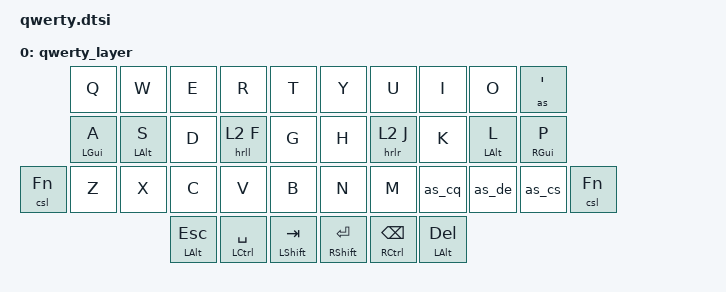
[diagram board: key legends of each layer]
/**
 * Alpha Layer - QWERTY
 */

/ {
  keymap {
    compatible = "zmk,keymap";

    qwerty_layer {
      display-name = DISPLAY_NAME;
      bindings = <
//                 ╭───────────────┬───────────────┬───────────────┬───────────────┬───────────────╮   ╭───────────────┬───────────────┬───────────────┬───────────────┬───────────────╮
//                 │0              │1              │2              │3              │4              │   │5              │6              │7              │8              │9              │
                    &kp Q           &kp W           &kp E           &kp R           &kp T               &kp Y           &kp U           &kp I           &kp O           &as SQT
//                 ├───────────────┼───────────────┼───────────────┼───────────────┼───────────────┤   ├───────────────├───────────────┼───────────────┼───────────────┼───────────────┤
//                 │10             │11             │12             │13             │14             │   │15             │16             │17             │18             │19             │
                    &hrml LGUI A    &hrml LALT S    &kp D           &hrll L2 F      &kp G               &kp H           &hrlr L2 J      &kp K           &hrmr LALT L    &hrmr RGUI P
// ╭───────────────┬───────────────┼───────────────┼───────────────┼───────────────┼───────────────┤   ├───────────────├───────────────┼───────────────┼───────────────┼───────────────┬───────────────╮
//  20             │21             │22             │23             │24             │25             │   │26             │27             │28             │29             │30             │31             │
    &csl Fn         &kp Z           &kp X           &kp C           &kp V           &kp B               &kp N           &kp M           &as_cq          &as_de          &as_cs          &csl Fn
// ╰───────────────┴───────────────┴───────────────┼───────────────┼───────────────┼───────────────┤   ├───────────────├───────────────┼───────────────┼───────────────┴───────────────┴───────────────╯
//                                                 │32             │33             │34             │   │35             │36             │37             │
                                                    &mt LALT ESC    &mt LCTRL SPACE &mt LSHFT TAB       &mt RSHFT RET   &mt RCTRL BSPC  &mt LALT DEL
//                                                 ╰───────────────┴───────────────┴───────────────╯   ╰───────────────┴───────────────┴───────────────╯
      >;
    };
  };
};
